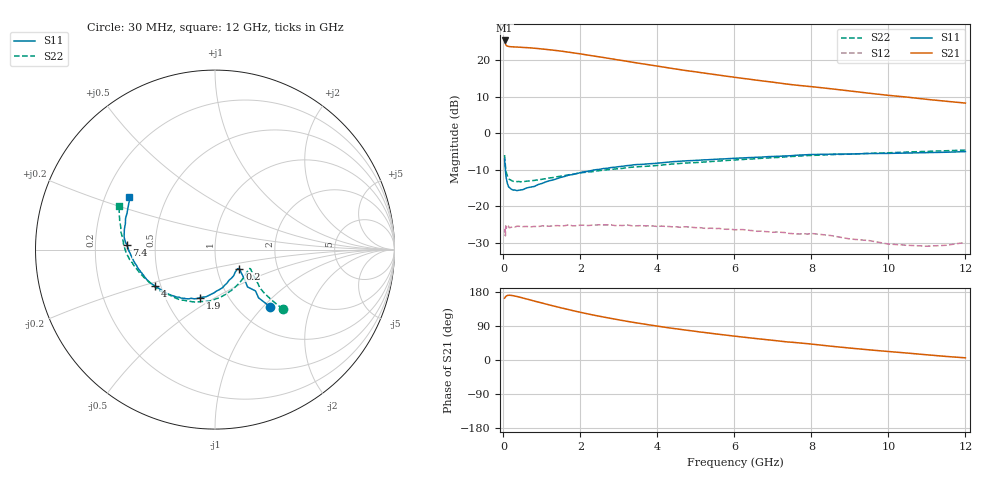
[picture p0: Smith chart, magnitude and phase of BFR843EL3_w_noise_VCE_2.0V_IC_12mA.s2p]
! Infineon Technologies  Discrete & RF Semiconductors
! BFR843EL3
! VCE =  2.0 V,  IC =  12 mA
! Common Emitter S-Parameters:  Aug 2013
# GHz  S  MA  R  50
!  f  S11  S21  S12  S22
! GHz  MAG  ANG  MAG  ANG  MAG  ANG  MAG  ANG
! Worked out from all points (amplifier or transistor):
!   103 points, 30 MHz to 12 GHz, reference 50 ohm
!   highest |S21| = 25.3 dB at 30 MHz (marker M1)
!   |S21| within 3 dB of that: start of sweep to 1.558 GHz
!   unconditionally stable (mu >= 1): 5.096 GHz to end of sweep
!   at 400 MHz: K = 0.99, MSG = 24.5 dB, |S12| = -25.4 dB
!   at 3.7 GHz: K = 0.90, MSG = 22.1 dB, |S12| = -25.3 dB
!   at 12 GHz: K = 2.73, MAG = 11.8 dB, |S12| = -29.8 dB
!   lowest NFmin = 0.93 dB at 450 MHz
!   S11 on the Smith chart (normalised r, x): 30 MHz: 1.38, -1.09; 200 MHz: 1.28, -0.28; 1.9 GHz: 0.74, -0.43; 4 GHz: 0.47, -0.22; 7.4 GHz: 0.34, +0.02; 12 GHz: 0.30, +0.26
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0.03  0.4414 -46.1  18.46 163.3  0.0443 27.9  0.503 -41.3
0.04  0.3619 -47.9  17.32 164.7  0.0485 23.5  0.4197 -41.7
0.06  0.2752 -49.0  16.14 167.5  0.0543 21.1  0.3289 -40.5
0.08  0.2344 -45.3  15.69 169.3  0.0511 12.1  0.2855 -37.2
0.13  0.1868 -40.4  15.31 170.7  0.0539 9.1  0.2426 -31.4
0.2  0.1728 -37.9  15.15 170.5  0.0519 4.6  0.2276 -28.7
0.7  0.1837 -59.8  14.63 158.4  0.0525 2.4  0.2235 -45.6
1.2  0.2247 -83.9  13.77 145.1  0.0538 1.9  0.245 -68.0
1.5  0.25 -95.1  13.21 137.6  0.0543 1.2  0.2601 -79.5
1.9  0.2807 -107.6  12.31 128.1  0.0547 0.9  0.2814 -92.2
2.1  0.2978 -112.9  11.87 123.6  0.0554 0.9  0.2912 -98.9
2.6  0.3297 -125.0  10.8 113.4  0.056 -0.9  0.3134 -111.5
3  0.3501 -132.9  9.97 105.9  0.0552 -3.0  0.3286 -120.0
3.4  0.3712 -140.2  9.228 98.9  0.054 -3.4  0.3454 -127.7
4  0.3901 -148.6  8.244 89.3  0.0532 -6.1  0.363 -136.9
4.1  0.394 -149.8  8.087 87.9  0.0541 -5.8  0.3665 -138.0
5.1  0.4285 -162.4  6.751 74.0  0.0514 -7.6  0.4002 -151.2
6.1  0.4574 -171.9  5.713 61.9  0.0482 -9.4  0.4349 -161.5
7.4  0.4909 177.2  4.664 47.5  0.043 -9.1  0.4787 -173.3
8.5  0.5174 167.4  4.047 36.5  0.0401 -9.6  0.51 176.8
10.5  0.5362 155.0  3.105 18.2  0.0295 7.0  0.5538 163.4
12  0.5608 148.5  2.579 5.7  0.0323 27.8  0.5885 155.6
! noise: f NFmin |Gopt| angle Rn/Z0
0.45  0.93  0.05  82  0.12
0.9  0.94  0.06  89  0.12
1.5  0.96  0.07  95  0.11
1.9  0.97  0.08  98  0.11
2.4  0.99  0.08  107  0.11
3.5  1.01  0.11  121  0.11
5.5  1.06  0.17  151  0.1
8  1.12  0.28  183  0.07
10  1.16  0.4  213  0.06
